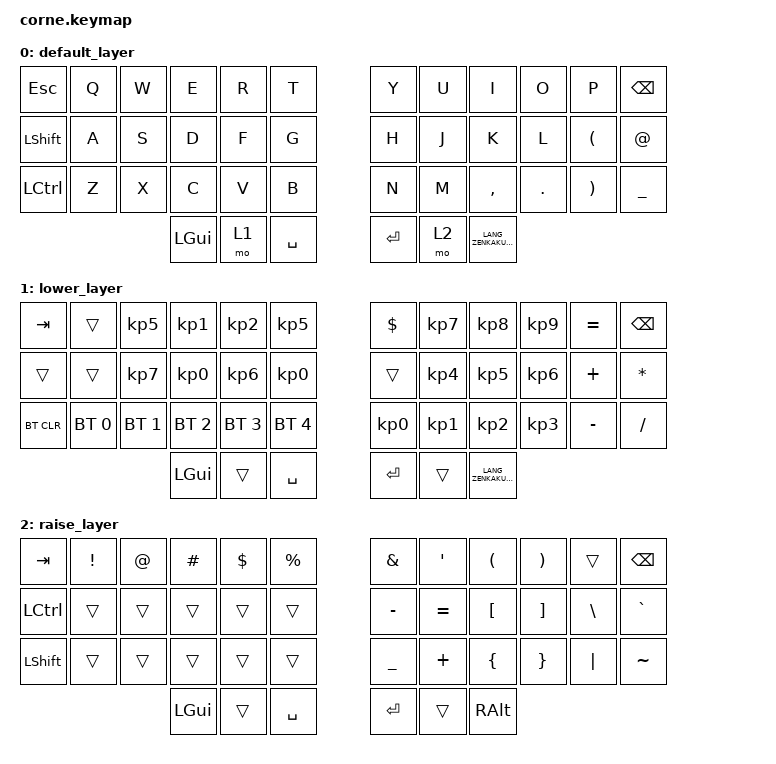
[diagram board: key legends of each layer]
/*
 * Copyright (c) 2020 The ZMK Contributors
 *
 * SPDX-License-Identifier: MIT
 */

#include <behaviors.dtsi>
#include <dt-bindings/zmk/bt.h>
#include <dt-bindings/zmk/keys.h>

/ {
    keymap {
        compatible = "zmk,keymap";

        default_layer {
            // -----------------------------------------------------------------------------------------
            // |  TAB |  Q  |  W  |  E  |  R  |  T  |   |  Y  |  U   |  I  |  O  |  P  | BKSP |
            // | CTRL |  A  |  S  |  D  |  F  |  G  |   |  H  |  J   |  K  |  L  |  ;  |  '   |
            // | SHFT |  Z  |  X  |  C  |  V  |  B  |   |  N  |  M   |  ,  |  .  |  /  | ESC  |
            //                    | GUI | LWR | SPC |   | ENT | RSE  | ALT |

            bindings = <
&kp ESC           &kp Q  &kp W  &kp E     &kp R  &kp T        &kp Y    &kp U  &kp I                    &kp O    &kp P                  &kp BSPC
&kp LSHIFT        &kp A  &kp S  &kp D     &kp F  &kp G        &kp H    &kp J  &kp K                    &kp L    &kp LEFT_PARENTHESIS   &kp AT_SIGN
&kp LEFT_CONTROL  &kp Z  &kp X  &kp C     &kp V  &kp B        &kp N    &kp M  &kp COMMA                &kp DOT  &kp RIGHT_PARENTHESIS  &kp UNDER
                                &kp LGUI  &mo 1  &kp SPACE    &kp RET  &mo 2  &kp LANG_ZENKAKUHANKAKU
            >;
        };

        lower_layer {
            // -----------------------------------------------------------------------------------------
            // |  TAB |  1  |  2  |  3  |  4  |  5  |   |  6  |  7  |  8  |  9  |  0  | BKSP |
            // | BTCLR| BT1 | BT2 | BT3 | BT4 | BT5 |   | LFT | DWN |  UP | RGT |     |      |
            // | SHFT |     |     |     |     |     |   |     |     |     |     |     |      |
            //                    | GUI |     | SPC |   | ENT |     | ALT |

            bindings = <
&kp TAB     &trans        &kp KP_NUMBER_5  &kp KP_NUMBER_1  &kp KP_NUMBER_2  &kp KP_NUMBER_5    &kp DOLLAR       &kp KP_NUMBER_7  &kp KP_NUMBER_8          &kp KP_NUMBER_9  &kp EQUAL  &kp BSPC
&trans      &trans        &kp KP_NUMBER_7  &kp KP_NUMBER_0  &kp KP_NUMBER_6  &kp KP_NUMBER_0    &trans           &kp KP_NUMBER_4  &kp KP_NUMBER_5          &kp KP_NUMBER_6  &kp PLUS   &kp ASTERISK
&bt BT_CLR  &bt BT_SEL 0  &bt BT_SEL 1     &bt BT_SEL 2     &bt BT_SEL 3     &bt BT_SEL 4       &kp KP_NUMBER_0  &kp KP_NUMBER_1  &kp KP_NUMBER_2          &kp KP_NUMBER_3  &kp MINUS  &kp SLASH
                                           &kp LGUI         &trans           &kp SPACE          &kp RET          &trans           &kp LANG_ZENKAKUHANKAKU
            >;
        };

        raise_layer {
            // -----------------------------------------------------------------------------------------
            // |  TAB |  !  |  @  |  #  |  $  |  %  |   |  ^  |  &  |  *  |  (  |  )  | BKSP |
            // | CTRL |     |     |     |     |     |   |  -  |  =  |  [  |  ]  |  \  |  `   |
            // | SHFT |     |     |     |     |     |   |  _  |  +  |  {  |  }  | "|" |  ~   |
            //                    | GUI |     | SPC |   | ENT |     | ALT |

            bindings = <
&kp TAB    &kp EXCL  &kp AT  &kp HASH  &kp DLLR  &kp PRCNT    &kp AMPERSAND  &kp SQT    &kp LEFT_PARENTHESIS  &kp RIGHT_PARENTHESIS  &trans    &kp BSPC
&kp LCTRL  &trans    &trans  &trans    &trans    &trans       &kp MINUS      &kp EQUAL  &kp LBKT              &kp RBKT               &kp BSLH  &kp GRAVE
&kp LSHFT  &trans    &trans  &trans    &trans    &trans       &kp UNDER      &kp PLUS   &kp LBRC              &kp RBRC               &kp PIPE  &kp TILDE
                             &kp LGUI  &trans    &kp SPACE    &kp RET        &trans     &kp RALT
            >;
        };
    };
};
